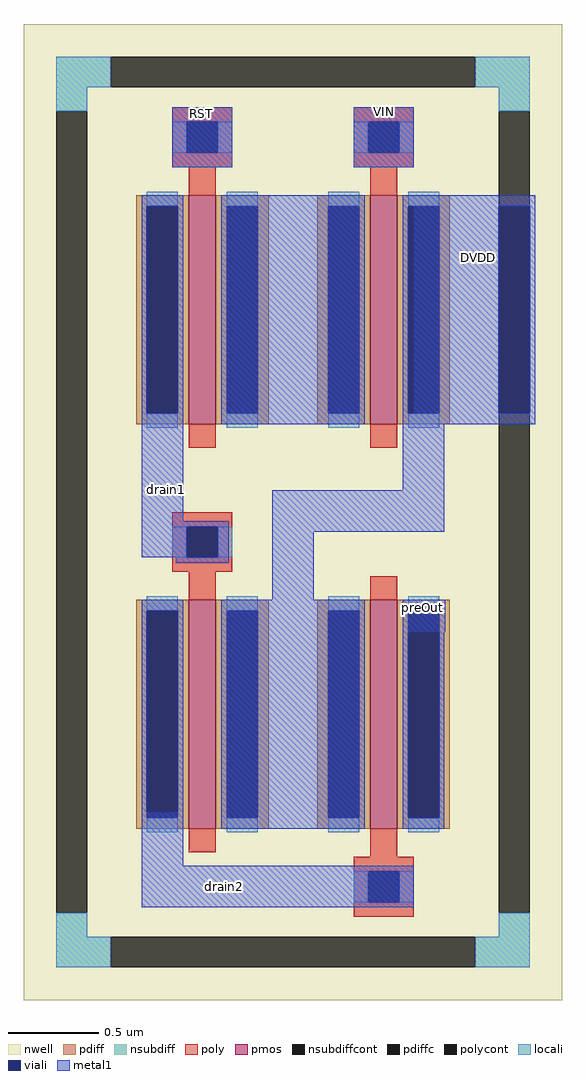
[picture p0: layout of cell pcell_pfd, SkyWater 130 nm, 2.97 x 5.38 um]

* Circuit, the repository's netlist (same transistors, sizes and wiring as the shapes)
** sch_path: /home/gils/aic/sky130_its_biomedical_chip_research_2024/xschem/pcell_pfd.sch
.subckt pcell_pfd rst vin drain1 drain2 preOut DVDD
*.PININFO rst:I vin:I drain1:I drain2:I preOut:O DVDD:I
XM1 net1 vin DVDD DVDD sky130_fd_pr__pfet_01v8 L=0.15 W=1.26 nf=1 m=1
XM2 drain1 rst net1 DVDD sky130_fd_pr__pfet_01v8 L=0.15 W=1.26 nf=1 m=1
XM3 drain2 drain1 DVDD DVDD sky130_fd_pr__pfet_01v8 L=0.15 W=1.26 nf=1 m=1
XM4 preOut drain2 DVDD DVDD sky130_fd_pr__pfet_01v8 L=0.15 W=1.26 nf=1 m=1
.ends
.end

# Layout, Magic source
magic
tech sky130A
magscale 1 2
<< nwell >>
rect 482 -341 1076 735
<< nsubdiff >>
rect 518 665 578 699
rect 980 665 1040 699
rect 518 639 552 665
rect 518 -271 552 -245
rect 1006 639 1040 665
rect 1006 -271 1040 -245
rect 518 -305 578 -271
rect 980 -305 1040 -271
<< nsubdiffcont >>
rect 578 665 980 699
rect 518 -245 552 639
rect 1006 -245 1040 639
rect 578 -305 980 -271
<< locali >>
rect 518 665 578 699
rect 980 665 1040 699
rect 518 639 552 665
rect 518 -271 552 -245
rect 1006 639 1040 665
rect 1006 -271 1040 -245
rect 518 -305 578 -271
rect 980 -305 1040 -271
<< viali >>
rect 1006 306 1040 534
<< metal1 >>
rect 646 577 712 643
rect 846 577 912 643
rect 612 147 658 306
rect 700 294 858 546
rect 912 534 1046 546
rect 912 306 1006 534
rect 1040 306 1046 534
rect 912 304 1046 306
rect 900 294 1046 304
rect 900 221 946 294
rect 756 175 946 221
rect 756 100 802 175
rect 612 -193 658 -134
rect 700 -152 858 100
rect 900 65 947 100
rect 612 -239 912 -193
use sky130_fd_pr__pfet_01v8_SC63VW  sky130_fd_pr__pfet_01v8_SC63VW_0
transform -1 0 879 0 1 456
box -109 -224 109 190
use sky130_fd_pr__pfet_01v8_SC63VW  sky130_fd_pr__pfet_01v8_SC63VW_1
transform -1 0 679 0 1 456
box -109 -224 109 190
use sky130_fd_pr__pfet_01v8_SC63VW  sky130_fd_pr__pfet_01v8_SC63VW_3
transform 1 0 679 0 1 10
box -109 -224 109 190
use sky130_fd_pr__pfet_01v8_SC63VW  sky130_fd_pr__pfet_01v8_SC63VW_4
transform 1 0 879 0 -1 -62
box -109 -224 109 190
<< labels >>
flabel metal1 984 478 984 478 0 FreeSans 160 90 0 0 DVDD
port 0 nsew
flabel metal1 880 638 880 638 0 FreeSans 160 0 0 0 VIN
port 1 nsew
flabel metal1 678 636 678 636 0 FreeSans 160 0 0 0 RST
port 2 nsew
flabel metal1 640 222 640 222 0 FreeSans 160 90 0 0 drain1
port 3 nsew
flabel metal1 704 -216 704 -216 0 FreeSans 160 0 0 0 drain2
port 4 nsew
flabel metal1 922 92 922 92 0 FreeSans 160 0 0 0 preOut
port 5 nsew
<< end >>

# cell sky130_fd_pr__pfet_01v8_SC63VW: kit device sky130_fd_pr__pfet_01v8, w 1.26 l 0.15 m 1 nf 1 diffcov 100 polycov 100 guard 0 glc 1 grc 1 gtc 1 gbc 1 tbcov 100 rlcov 100 topc 1 botc 0 poverlap 0 doverlap 0 lmin 0.15 wmin 0.42 compatible {sky130_fd_pr__pfet_01v8 sky130_fd_pr__pfet_01v8_lvt sky130_fd_pr__pfet_01v8_hvt sky130_fd_pr__pfet_g5v0d10v5} full_metal 1 viasrc 100 viadrn 100 viagate 100 viagb 0 viagr 0 viagl 0 viagt 0
